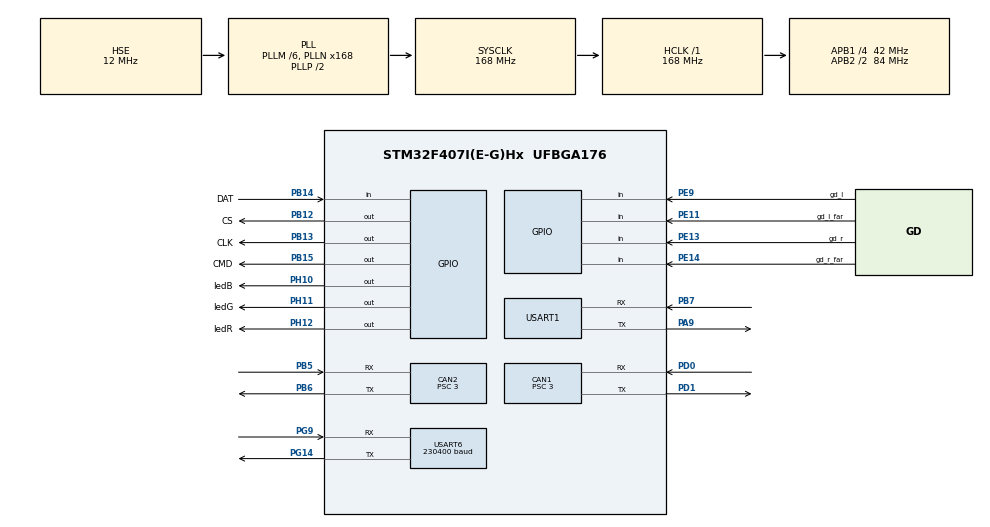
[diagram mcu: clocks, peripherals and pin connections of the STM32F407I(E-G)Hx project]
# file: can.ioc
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CAN1.BS1=CAN_BS1_10TQ
CAN1.BS2=CAN_BS2_3TQ
CAN1.CalculateTimeQuantum=71.42857142857143
CAN1.Prescaler=3
CAN2.BS1=CAN_BS1_10TQ
CAN2.BS2=CAN_BS2_3TQ
CAN2.CalculateTimeQuantum=71.42857142857143
CAN2.Prescaler=3
Mcu.Family=STM32F4
Mcu.Name=STM32F407I(E-G)Hx
Mcu.Package=UFBGA176
NVIC.CAN1_RX0_IRQn=true\:0\:0\:false\:false\:true\:true\:true\:true
NVIC.CAN2_RX0_IRQn=true\:0\:0\:false\:false\:true\:true\:true\:true
NVIC.PriorityGroup=NVIC_PRIORITYGROUP_4
NVIC.TIM2_IRQn=true\:0\:0\:true\:false\:true\:true\:true\:true
NVIC.USART1_IRQn=true\:0\:0\:false\:false\:true\:true\:true\:true
NVIC.USART6_IRQn=true\:0\:0\:false\:false\:true\:true\:true\:true
PA13.Mode=Serial_Wire
PA13.Signal=SYS_JTMS-SWDIO
PA14.Mode=Serial_Wire
PA14.Signal=SYS_JTCK-SWCLK
PA9.Mode=Asynchronous
PA9.Signal=USART1_TX
PB12.GPIO_Label=CS
PB12.Signal=GPIO_Output
PB13.GPIO_Label=CLK
PB13.Signal=GPIO_Output
PB14.GPIO_Label=DAT
PB14.GPIO_PuPd=GPIO_PULLDOWN
PB14.Signal=GPIO_Input
PB15.GPIO_Label=CMD
PB15.Signal=GPIO_Output
PB5.Mode=Slave
PB5.Signal=CAN2_RX
PB6.Mode=Slave
PB6.Signal=CAN2_TX
PB7.Mode=Asynchronous
PB7.Signal=USART1_RX
PD0.Mode=Master
PD0.Signal=CAN1_RX
PD1.Mode=Master
PD1.Signal=CAN1_TX
PE11.GPIO_Label=gd_l_far
PE11.GPIO_PuPd=GPIO_PULLUP
PE11.Signal=GPIO_Input
PE13.GPIO_Label=gd_r
PE13.GPIO_PuPd=GPIO_PULLUP
PE13.Signal=GPIO_Input
PE14.GPIO_Label=gd_r_far
PE14.GPIO_PuPd=GPIO_PULLUP
PE14.Signal=GPIO_Input
PE9.GPIO_Label=gd_l
PE9.GPIO_PuPd=GPIO_PULLUP
PE9.Signal=GPIO_Input
PG14.Mode=Asynchronous
PG14.Signal=USART6_TX
PG9.Mode=Asynchronous
PG9.Signal=USART6_RX
PH0-OSC_IN.Mode=HSE-External-Oscillator
PH0-OSC_IN.Signal=RCC_OSC_IN
PH1-OSC_OUT.Mode=HSE-External-Oscillator
PH1-OSC_OUT.Signal=RCC_OSC_OUT
PH10.GPIO_Label=ledB
PH10.Signal=GPIO_Output
PH11.GPIO_Label=ledG
PH11.Signal=GPIO_Output
PH12.GPIO_Label=ledR
PH12.Signal=GPIO_Output
ProjectManager.HeapSize=0x200
ProjectManager.StackSize=0x400
ProjectManager.TargetToolchain=MDK-ARM V5
RCC.48MHZClocksFreq_Value=84000000
RCC.AHBFreq_Value=168000000
RCC.APB1CLKDivider=RCC_HCLK_DIV4
RCC.APB1Freq_Value=42000000
RCC.APB1TimFreq_Value=84000000
RCC.APB2CLKDivider=RCC_HCLK_DIV2
RCC.APB2Freq_Value=84000000
RCC.APB2TimFreq_Value=168000000
RCC.CortexFreq_Value=168000000
RCC.HCLKFreq_Value=168000000
RCC.HSE_VALUE=12000000
RCC.HSI_VALUE=16000000
RCC.LSE_VALUE=32768
RCC.PLLM=6
RCC.PLLN=168
RCC.PLLSourceVirtual=RCC_PLLSOURCE_HSE
RCC.SYSCLKFreq_VALUE=168000000
RCC.SYSCLKSource=RCC_SYSCLKSOURCE_PLLCLK
RCC.VCOOutputFreq_Value=336000000
TIM2.AutoReloadPreload=TIM_AUTORELOAD_PRELOAD_ENABLE
TIM2.Period=25
TIM2.Prescaler=16799
USART1.VirtualMode=VM_ASYNC
USART6.BaudRate=230400
USART6.VirtualMode=VM_ASYNC
VP_TIM2_VS_ClockSourceINT.Mode=Internal
board=custom

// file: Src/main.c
/* USER CODE BEGIN Header */
/**
******************************************************************************
* @file           : main.c
* @brief          : Main program body
******************************************************************************
* @attention
*
* <h2><center>&copy; Copyright (c) 2019 STMicroelectronics.
* All rights reserved.</center></h2>
*
* This software component is licensed by ST under BSD 3-Clause license,
* the "License"; You may not use this file except in compliance with the
* License. You may obtain a copy of the License at:
*                        opensource.org/licenses/BSD-3-Clause
*
******************************************************************************
*/
/* USER CODE END Header */

#include "main.h"
#include "can.h"
#include "tim.h"
#include "usart.h"
#include "gpio.h"

/* USER CODE BEGIN Includes */
#include "bsp_can.h"
#include "CAN_receive.h"
#include "ps2.h"
#include "pid.h"
#include "usart.h"
#include "mecanum_control.h"
#include <math.h>
#include <string.h>
#include <stdio.h>
#include "dma.h"
#include "hwt101.h"
#include "stp_23l.h"
/* USER CODE END Includes */

/* USER CODE BEGIN PD */
#define WHEEL_FR 0  // 右前轮
#define WHEEL_FL 1  // 左前轮
#define WHEEL_BL 2  // 左后轮
#define WHEEL_BR 3  // 右后轮
/* USER CODE END PD */

/* USER CODE BEGIN PV */
fp32 t1=0.0f;
fp32 t2=90.0f;
fp32 t3=180.0f;
fp32 t4=-90.0f;

PID_TypeDef motor_pid[4];
char tx_buffer[1000];
extern TIM_HandleTypeDef htim2;
extern UART_HandleTypeDef huart1;  // 确保你已经在别处定义了这个句�?
extern UART_HandleTypeDef huart6;  // 确保你已经在别处定义了这个句�?

extern volatile uint8_t uart_tx_done;
extern void UART1_Send_DMA(uint8_t *buf, uint16_t len);
extern uint8_t g_usart1_receivedata;
extern q_pid speed_pid[4];
extern q_pid angle_pid_s; //直线pid
extern q_pid angle_pid_t; //转向pid
volatile uint32_t last_interrupt_time = 0; // 上次中断时间
volatile uint8_t gd_mode;

extern uint8_t uart6_rx_buf[1];
/* USER CODE END PV */

void SystemClock_Config(void);
/* USER CODE BEGIN PFP */
void UART1_Send_DMA(uint8_t *buf, uint16_t len);
void UART1_Send_IT(uint8_t *buf, uint16_t len);
/* USER CODE END PFP */

/* USER CODE BEGIN 0 */
  //uint8_t move_mode = 0; // 移动模式标志
volatile uint8_t pid_flag = 0; // PID标志
volatile uint8_t stop=1; // 停止标志
//  static uint8_t test_state = 0;  // 0=前进, 1=后退
// static float start_distance = 0.0f;
volatile uint8_t gd_r_test=1;
volatile uint8_t gd_l_test=1;
float vofa_data[3];
/* USER CODE END 0 */

int main(void)
{

  /* MCU Configuration--------------------------------------------------------*/

  /* Reset of all peripherals, Initializes the Flash interface and the Systick. */
  HAL_Init();

  /* USER CODE BEGIN Init */

//float wheel_speed_FR;
//float wheel_speed_FL;
//float wheel_speed_BL;
//float wheel_speed_BR;
  /* USER CODE END Init */

  /* Configure the system clock */
  SystemClock_Config();

  /* Initialize all configured peripherals */
  MX_GPIO_Init();
  MX_CAN1_Init();
  MX_CAN2_Init();
  MX_USART1_UART_Init();
  MX_TIM2_Init();
  MX_USART6_UART_Init();
  /* USER CODE BEGIN 2 */
HAL_TIM_Base_Start_IT(&htim2);
can_filter_init();
HAL_UART_Receive_IT(&huart1, &g_usart1_receivedata, 1); // 开启串口1接收中断
HAL_UART_Receive_IT(&huart6, uart6_rx_buf, 1);

for (int i = 0; i < 4; i++)
{
  speed_pid_init(&speed_pid[i]);
  set_speed_pid(&speed_pid[i], 10.7f, 0.63f, 0.5f, 6000.0f, 600.0f,0.0f);
                           //设置kp,   ki,    kd, 最大输出，最大积分， 死区
	                        //初调kp=5.5,ki=0.4,kd=0.2,最大输出2500，积分300，死区10
                          //9.21 kp=10.7,ki=0.63,kd=0.5,最大输出6000，积分600，死区0,效果可以
  speed_pid[i].target = 0.0f; // 初始目标速度为0

}

//直线角度环和转弯角度环初始化
  angle_controller_init(&angle_pid_s); //角度控制初始化
  angle_controller_init(&angle_pid_t); //角度控制初始化
  set_angle_pid(&angle_pid_s, 200.0f, 0.1f, 0.0f, 6000.0f, 470.0f);
//510*0.6
  set_angle_pid(&angle_pid_t, 60.0f, 0.1f, 0.0f, 6000.0f, 400.0f);
            //设置kp,   ki,   kd,  最大输出，最大积分
	//p50,output1000
	//p60.0f, 0.1f, 0.0f, 1500.0f, 200.0f

  // 初始化麦克纳姆轮控制
  mecanum_init(&mecanum);
  uint32_t last_switch_time = HAL_GetTick();

  STP23L_Init(&huart6);  /* 初始化 STP-23L */

  HAL_Delay(1000); // 等待系统稳定

//  float speed = 2000.0f;
//  const float speed_step = 500.0f; // 每次提升500

  /* USER CODE END 2 */

  /* Infinite loop */
  /* USER CODE BEGIN WHILE */
  while (1)
  {

    /*
    for (int i = 0; i < 4; i++)
  {
    vofa_data[i] = (float)get_chassis_motor_measure_point(i)->speed_rpm;     // 实际速度
    vofa_data[i + 4] = (float)speed_pid[i].target;
    HAL_UART_Transmit(&huart1, (uint8_t*)vofa_data, sizeof(vofa_data), 100);
    // 发送帧尾
    unsigned char tail[4] = {0x00, 0x00, 0x80, 0x7f};
    HAL_UART_Transmit(&huart1, tail, 4, 100);
    HAL_Delay(5); // 延迟10毫秒                    // 设定速度
  }
  uint32_t now = HAL_GetTick();
  if(now - last_switch_time >= 25000)
  {
    if(speed<1500.0f)
    {
    speed += speed_step;
    last_switch_time = now;
    }
    else
    {
    speed = 2000.0f;
    last_switch_time = now;
   }
 }
  mecanum_move_forward(&mecanum, speed);

*/

	HAL_Delay(1000);
	hwt101_restart(&huart1);
  set_target_move_to_target(&mecanum,430.0f,0.0f,t1,4000.0f,1,1);
  HAL_Delay(10);
  set_target_move_to_target(&mecanum,0.0f,-800.0f*1.03f,t1,4000.0f,1,1); //到达取货站
  HAL_Delay(10);
  set_target_move_to_target(&mecanum,0.0f,-340.0f,t1,3000.0f,1,1);
  HAL_Delay(10);
  set_target_move_to_target(&mecanum,624.5f,0.0f,t1,3000.0f,1,1); //避障起点
  HAL_Delay(10);
  move_x(&mecanum,t1,1000.0f);
  HAL_Delay(250);
  move_y(&mecanum,t1,1000.0f);
  HAL_Delay(250);
  set_target_move_to_target(&mecanum,230.0f-2.0f,0.0f,t1,1000.0f,0,1); //第一个货站
  HAL_Delay(9000);

  set_target_move_to_target(&mecanum,461.0f,0.0f,t1,3000.0f,1,1);  //避障起点
  HAL_Delay(10);
  set_target_move_to_target(&mecanum,0.0f,230.0f,t1,3000.0f,1,1);  //左移
  HAL_Delay(10);
  set_target_move_to_target(&mecanum,884.0f,0.0f,t1,3000.0f,1,1);
  HAL_Delay(10);
  set_target_move_to_target(&mecanum,0.0f,-155.0f+30.0f,t1,3000.0f,1,1);  //右移,开始是225，多了
  HAL_Delay(10);
  set_target_move_to_target(&mecanum,126.0f,0.0f,t1,3000.0f,1,1);
  HAL_Delay(10);
  move_x(&mecanum,t1,1000.0f);
  HAL_Delay(250);
  move_y(&mecanum,t1,1000.0f);
  HAL_Delay(250);
  set_target_move_to_target(&mecanum,232.0f-2.0f,0.0f,t1,1000.0f,0,1);  //第二个货站
	HAL_Delay(9000);

  set_target_move_to_target(&mecanum,810.0f,0.0f,t1,3000.0f,1,1);
  HAL_Delay(10);

  move_angle(&mecanum,t2);  //第一次转弯
  HAL_Delay(500);

  set_target_move_to_target(&mecanum,69.5f,0.0f,t2,3000.0f,1,1);
  HAL_Delay(10);
  move_x(&mecanum,t2,800.0f);
  HAL_Delay(500);
  move_y(&mecanum,t2,800.0f);
  HAL_Delay(500);
  set_target_move_to_target(&mecanum,232.0f-2.0f,0.0f,t2,800.0f,0,1); //第三个货站
	HAL_Delay(9000);

  set_target_move_to_target(&mecanum,470.0f,0.0f,t2,3000.0f,0,0);
  HAL_Delay(10);
  move_x(&mecanum,t2,800.0f);
  HAL_Delay(500);
  move_y(&mecanum,t2,800.0f);
  HAL_Delay(500);
  set_target_move_to_target(&mecanum,232.0f-2.0f,0.0f,t2,3000.0f,0,1); //第四个货站
	HAL_Delay(9000);

  set_target_move_to_target(&mecanum,400.0f,0.0f,t2,3000.0f,1,1);
  HAL_Delay(10);
  move_angle(&mecanum,t3);  //第二次转弯
  HAL_Delay(500);

  set_target_move_to_target_up(&mecanum,1415.0f+70.0f,0.0f,t3,4000.0f,1,1); //上跷跷板
  HAL_Delay(10);

  hwt101_restart(&huart1); //重启hwt101(内部有haldelay)，注意角度

  set_target_move_to_target(&mecanum,515.0f,0.0f,t1,3000.0f,1,1);
  HAL_Delay(10);

  move_angle(&mecanum,t2);  //第三次转弯
  HAL_Delay(500);

  set_target_move_to_target(&mecanum,450.5f,0.0f,t2,3000.0f,1,1);
  move_x(&mecanum,t2,1000.0f);
  HAL_Delay(500);
  move_y(&mecanum,t2,1000.0f);
  HAL_Delay(500);
  set_target_move_to_target(&mecanum,232.0f-2.0f,0.0f,t2,1000.0f,0,1);//第五个货站
	HAL_Delay(9000);

  set_target_move_to_target(&mecanum,-740.0f,0.0f,t2,3000.0f,1,1);
  HAL_Delay(10);

  move_angle(&mecanum,t1);  //第四次转弯 180度
  HAL_Delay(500);

  set_target_move_to_target(&mecanum,253.0f,0.0f,t1,3000.0f,1,1);
  HAL_Delay(10);
  move_x(&mecanum,t1,1000.0f);
  HAL_Delay(500);
  move_y(&mecanum,t1,1000.0f);
  HAL_Delay(500);
  set_target_move_to_target(&mecanum,232.0f-2.0f,0.0f,t1,1000.0f,0,1); //第六个货站
  HAL_Delay(9000);

  set_target_move_to_target(&mecanum,1420.0f,0.0f,t1,3000.0f,1,1); //回家
  HAL_Delay(10);
  set_target_move_to_target(&mecanum,0.0f,460.0f,t1,3000.0f,1,1); //左移
  HAL_Delay(10);
  while(1)
	{
	}

 /*

    // VOFA绘图数据发送（只在VOFA模式下发送）
    // 发送8个通道：4个实际速度值 + 4个设定速度值
    float vofa_data[8];
    for (int i = 0; i < 4; i++) {
        vofa_data[i] = (float)get_chassis_motor_measure_point(i)->speed_rpm;     // 实际速度
        vofa_data[i + 4] = (float)motor_pid[i].target;                          // 设定速度
    }

    // 发送浮点数组
    HAL_UART_Transmit(&huart1, (uint8_t*)vofa_data, sizeof(vofa_data), 100);
    // 发送帧尾
    unsigned char tail[4] = {0x00, 0x00, 0x80, 0x7f};
    HAL_UART_Transmit(&huart1, tail, 4, 100);
    HAL_Delay(10); // 延迟10毫秒
    */
    /* USER CODE END WHILE */

  }
}

void SystemClock_Config(void)
{
  RCC_OscInitTypeDef RCC_OscInitStruct = {0};
  RCC_ClkInitTypeDef RCC_ClkInitStruct = {0};

  /** Configure the main internal regulator output voltage
  */
  __HAL_RCC_PWR_CLK_ENABLE();
  __HAL_PWR_VOLTAGESCALING_CONFIG(PWR_REGULATOR_VOLTAGE_SCALE1);
  /** Initializes the CPU, AHB and APB busses clocks
  */
  RCC_OscInitStruct.OscillatorType = RCC_OSCILLATORTYPE_HSE;
  RCC_OscInitStruct.HSEState = RCC_HSE_ON;
  RCC_OscInitStruct.PLL.PLLState = RCC_PLL_ON;
  RCC_OscInitStruct.PLL.PLLSource = RCC_PLLSOURCE_HSE;
  RCC_OscInitStruct.PLL.PLLM = 6;
  RCC_OscInitStruct.PLL.PLLN = 168;
  RCC_OscInitStruct.PLL.PLLP = RCC_PLLP_DIV2;
  RCC_OscInitStruct.PLL.PLLQ = 4;
  if (HAL_RCC_OscConfig(&RCC_OscInitStruct) != HAL_OK)
  {
    Error_Handler();
  }
  /** Initializes the CPU, AHB and APB busses clocks
  */
  RCC_ClkInitStruct.ClockType = RCC_CLOCKTYPE_HCLK|RCC_CLOCKTYPE_SYSCLK
                              |RCC_CLOCKTYPE_PCLK1|RCC_CLOCKTYPE_PCLK2;
  RCC_ClkInitStruct.SYSCLKSource = RCC_SYSCLKSOURCE_PLLCLK;
  RCC_ClkInitStruct.AHBCLKDivider = RCC_SYSCLK_DIV1;
  RCC_ClkInitStruct.APB1CLKDivider = RCC_HCLK_DIV4;
  RCC_ClkInitStruct.APB2CLKDivider = RCC_HCLK_DIV2;

  if (HAL_RCC_ClockConfig(&RCC_ClkInitStruct, FLASH_LATENCY_5) != HAL_OK)
  {
    Error_Handler();
  }
}

/* USER CODE BEGIN 4 */
/*
volatile uint8_t uart_tx_busy = 0;
float vofa_data[8];
unsigned char vofa_buffer[36];
*/
void HAL_TIM_PeriodElapsedCallback(TIM_HandleTypeDef *htim)
{
    if (htim == &htim2)
    {

      for (int i = 0; i < 4; i++)
{
  speed_pid[i].target = mecanum.wheel_speed[i];
  const motor_measure_t *motor_data = get_chassis_motor_measure_point(i);
  speed_pid_control(&speed_pid[i], speed_pid[i].target, motor_data->speed_rpm);
}
CAN_cmd_chassis(speed_pid[0].output,speed_pid[1].output,speed_pid[2].output,speed_pid[3].output);
/*
 if (!uart_tx_busy) {
            // 准备数据
            for (int i = 0; i < 4; i++) {
                vofa_data[i] = (float)get_chassis_motor_measure_point(i)->speed_rpm;
                vofa_data[i + 4] = (float)speed_pid[i].target;
            }

            // 复制到发送缓冲区
            memcpy(vofa_buffer, vofa_data, 32);
            vofa_buffer[32] = 0x00;
            vofa_buffer[33] = 0x00;
            vofa_buffer[34] = 0x80;
            vofa_buffer[35] = 0x7f;

            // DMA发送
            uart_tx_busy = 1;
            HAL_UART_Transmit_DMA(&huart6, vofa_buffer, 36);

       }
       }

    for (int i = 0; i < 4; i++)
    {

        motor_pid[i].target = mecanum.wheel_speed[i];
        const motor_measure_t *motor_data = get_chassis_motor_measure_point(i);

            //motor_pid[i].f_cal_pid(&motor_pid[i], motor_data->speed_rpm); //这句有问题，不能放中断回调里

    }
    CAN_cmd_chassis(motor_pid[0].output, motor_pid[1].output, motor_pid[2].output, motor_pid[3].output);
    // 不在中断里发送CAN指令，移到主循环
    */
    }

}

/*
void HAL_UART_TxCpltCallback(UART_HandleTypeDef *huart)
{
    if (huart == &huart6) {
        uart_tx_busy = 0;
    }
}
*/

// 定时器中断回调，定时发�?�VOFA数据（float格式，VOFA可直接画图）
//void HAL_TIM_PeriodElapsedCallback(TIM_HandleTypeDef *htim)
//{
//    if (htim == &htim2)
//    {
//        float vofa_data[4];
//        for (int i = 0; i < 4; i++) {
//            vofa_data[i] = (float)get_chassis_motor_measure_point(i)->speed_rpm;
//        }
//        // 发�??4个float数据到VOFA+
//        HAL_UART_Transmit(&huart1, (uint8_t*)vofa_data, sizeof(vofa_data), 100);
//    }
//}
//void HAL_TIM_PeriodElapsedCallback(TIM_HandleTypeDef *htim)
//{

//if (htim == (&htim2))
//{
//			for(int i=0; i<4; i++)
//{
//  motor_pid[i].target = 1000;
//		const motor_measure_t *motor_data = get_chassis_motor_measure_point(i);
//			motor_pid[i].f_cal_pid(&motor_pid[i],motor_data->speed_rpm);    //根据设定值进行PID计算�?
//}
//CAN_cmd_chassis(motor_pid[0].output,motor_pid[1].output,motor_pid[2].output,motor_pid[3].output);
//}
//}

/* USER CODE END 4 */

void Error_Handler(void)
{
}

/************************ (C) COPYRIGHT STMicroelectronics *****END OF FILE****/
